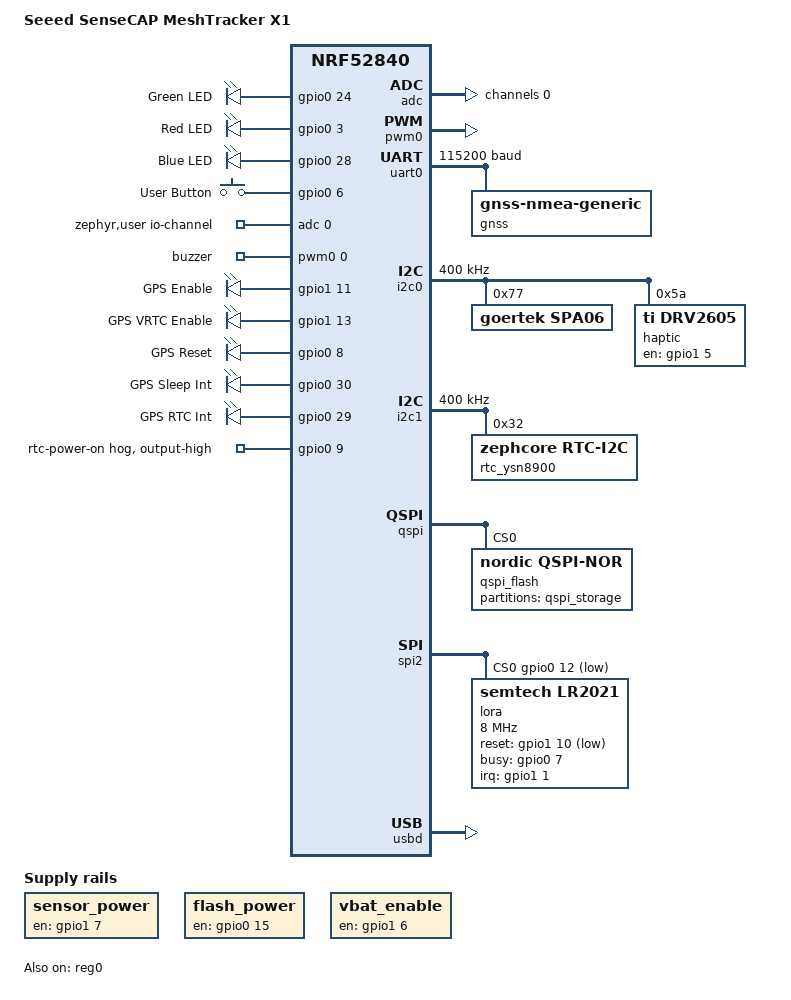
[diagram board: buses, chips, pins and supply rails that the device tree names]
/*
 * Seeed SenseCAP MeshTracker X1 - nRF52840 + LR2021
 * Copyright (c) 2026 ZephCore
 *
 * SPDX-License-Identifier: MIT
 *
 * Hardware:
 * - nRF52840 SoC with BLE
 * - LR2021 LoRa radio (TCXO 1.6V on DIO3, no external RF switch)
 * - Airoha dual-band L1+L5 GNSS on UART0
 * - SPA06 barometer + DRV2605L haptic driver (I2C0)
 * - RGB LED, buzzer, single user button
 * - 1100 mAh high-voltage LiPo, ADC on AIN0
 */

/dts-v1/;
#include <nordic/nrf52840_qiaa.dtsi>
#include <nordic/nrf52840_partition.dtsi>
#include <zephyr/dt-bindings/adc/nrf-saadc.h>
#include <zephyr/dt-bindings/input/input-event-codes.h>
#include <zephyr/dt-bindings/pwm/pwm.h>
#include "meshtracker_x1_nrf52840-pinctrl.dtsi"

/* Delete default partitions from nrf52840_partition.dtsi */
/delete-node/ &boot_partition;
/delete-node/ &slot0_partition;
/delete-node/ &slot1_partition;
/delete-node/ &storage_partition;

/ {
	model = "Seeed SenseCAP MeshTracker X1";
	compatible = "seeed,meshtracker-x1";

	chosen {
		zephyr,code-partition = &code_partition;
		zephyr,console = &cdc_acm_uart;
		zephyr,shell-uart = &cdc_acm_uart;
	};

	leds {
		compatible = "gpio-leds";

		led_green: led_0 {
			gpios = <&gpio0 24 GPIO_ACTIVE_HIGH>;
			label = "Green LED";
		};

		led_red: led_1 {
			gpios = <&gpio0 3 GPIO_ACTIVE_HIGH>;
			label = "Red LED";
		};

		led_blue: led_2 {
			gpios = <&gpio0 28 GPIO_ACTIVE_HIGH>;
			label = "Blue LED";
		};
	};

	buttons: buttons {
		compatible = "gpio-keys";

		user_button: button_0 {
			/* Active HIGH (pressed = VCC), external pull-down on board.
			 * The internal pull-down is declared as well so System OFF
			 * arms SENSE with PULLDOWN rather than NOPULL: the teardown
			 * cuts the sensor rail before configuring SENSE, and a
			 * floating pin with SENSE_HIGH asserts DETECT immediately,
			 * which exits System OFF as fast as it is entered. */
			gpios = <&gpio0 6 (GPIO_ACTIVE_HIGH | GPIO_PULL_DOWN)>;
			zephyr,code = <INPUT_KEY_0>;
			label = "User Button";
		};
	};

	/* Short-press → KEY_A, long-press → KEY_F */
	user_btn_longpress {
		compatible = "zephyr,input-longpress";
		input = <&buttons>;
		input-codes = <INPUT_KEY_0>;
		short-codes = <INPUT_KEY_A>;
		long-codes = <INPUT_KEY_F>;
		long-delay-ms = <1000>;
	};

	/* 1 tap → page next, 2 → LED heartbeat, 3 → buzzer mute,
	 * 4 → GPS on/off, 5 → flood advert */
	user_btn_multitap {
		compatible = "zephcore,input-multi-tap";
		input-codes = <INPUT_KEY_A>;
		tap-codes = <INPUT_KEY_1 INPUT_KEY_B INPUT_KEY_D INPUT_KEY_C INPUT_KEY_E>;
		tap-delay-ms = <400>;
	};

	/* P1.07 — 3V3 rail feeding the I2C sensors (barometer, haptic driver) */
	sensor_power: sensor-power {
		compatible = "regulator-fixed";
		regulator-name = "sensor-power";
		enable-gpios = <&gpio1 7 GPIO_ACTIVE_HIGH>;
		regulator-boot-on;
		startup-delay-us = <5000>;
	};

	/* P0.15 — 3V3 rail feeding the QSPI flash.
	 *
	 * A regulator rather than a gpio-hog so the part's power-up time is an
	 * enforced delay instead of a race: a hog raises the rail and returns,
	 * and the flash driver a few init priorities later clocks out RDID
	 * microseconds afterwards — before the switch and the rail's bulk
	 * capacitance have settled. The read comes back as 0x00/0xff, the JEDEC
	 * compare fails, and /ext never mounts. */
	flash_power: flash-power {
		compatible = "regulator-fixed";
		regulator-name = "flash-power";
		enable-gpios = <&gpio0 15 GPIO_ACTIVE_HIGH>;
		regulator-boot-on;
		/* Documents the part's requirement, but do not rely on it:
		 * regulator_fixed_init() drives the enable GPIO active and then
		 * passes is_enabled=true into regulator_common_init(), which
		 * takes the refcount-only branch — regulator_delay() sits on the
		 * other one and never runs. The flash gets its settling time
		 * from deferred init instead (see the qspi_flash node). */
		startup-delay-us = <100000>;
	};

	/* P1.06 — gates the battery ADC divider, enabled on demand */
	vbat_enable: vbat-enable {
		compatible = "regulator-fixed";
		regulator-name = "vbat-enable";
		enable-gpios = <&gpio1 6 GPIO_ACTIVE_HIGH>;
	};

	/* Battery ADC channel reference for ZephyrBoard */
	zephyr,user {
		io-channels = <&adc 0>;
		vbat-mv-multiplier = <7236>;  /* 2:1 divider, 3.6V ref; +0.5% for nRF SAADC gain error */
	};

	/* Buzzer on PWM0 channel 0 (P0.25) */
	pwmbuzzer {
		compatible = "pwm-leds";
		buzzer: buzzer {
			pwms = <&pwm0 0 PWM_MSEC(20) PWM_POLARITY_NORMAL>;
		};
	};

	/* GNSS control pins */
	gps_en: gps-enable {
		compatible = "gpio-leds";
		gps_enable_pin: gps_enable {
			gpios = <&gpio1 11 GPIO_ACTIVE_HIGH>;
			label = "GPS Enable";
		};
	};

	gps_vrtc: gps-vrtc-enable {
		compatible = "gpio-leds";
		gps_vrtc_pin: gps_vrtc {
			gpios = <&gpio1 13 GPIO_ACTIVE_HIGH>;
			label = "GPS VRTC Enable";
		};
	};

	gps_rst: gps-reset {
		compatible = "gpio-leds";
		gps_reset_pin: gps_reset {
			gpios = <&gpio0 8 GPIO_ACTIVE_HIGH>;
			label = "GPS Reset";
		};
	};

	gps_sleep: gps-sleep-int {
		compatible = "gpio-leds";
		gps_sleep_pin: gps_sleep {
			gpios = <&gpio0 30 GPIO_ACTIVE_HIGH>;
			label = "GPS Sleep Int";
		};
	};

	/* Held LOW during normal operation, HIGH wakes the GNSS RTC domain */
	gps_rtcint: gps-rtc-int {
		compatible = "gpio-leds";
		gps_rtcint_pin: gps_rtc_int {
			gpios = <&gpio0 29 GPIO_ACTIVE_HIGH>;
			label = "GPS RTC Int";
		};
	};

	aliases {
		led0 = &led_green;
		led1 = &led_red;
		sw0 = &user_button;
		watchdog0 = &wdt0;
		buzzer = &buzzer;
		lora0 = &lora;
		gps-enable = &gps_enable_pin;
		gps-vrtc-enable = &gps_vrtc_pin;
		gps-reset = &gps_reset_pin;
		gps-sleep-int = &gps_sleep_pin;
		gps-rtc-int = &gps_rtcint_pin;
	};
};

&reg0 {
	status = "okay";
};

&reg1 {
	regulator-initial-mode = <NRF5X_REG_MODE_DCDC>;
};

&adc {
	status = "okay";
	#address-cells = <1>;
	#size-cells = <0>;

	/* Battery voltage on P0.02 (AIN0) - 2x voltage divider */
	channel@0 {
		reg = <0>;
		zephyr,gain = "ADC_GAIN_1_6";
		zephyr,reference = "ADC_REF_INTERNAL";
		zephyr,acquisition-time = <ADC_ACQ_TIME(ADC_ACQ_TIME_MICROSECONDS, 10)>;
		zephyr,input-positive = <NRF_SAADC_AIN0>;
		zephyr,resolution = <12>;
	};
};

/* P0.09/P0.10 are the NFC antenna pins — the board wires P0.09 to the RTC
 * rail's power switch */
&uicr {
	nfct-pins-as-gpios;
};

&gpiote {
	status = "okay";
};

/* Both rails are hogged rather than modelled as regulators: a hog is applied
 * at PRE_KERNEL_1, ahead of the QSPI NOR driver and the RTC probe, and neither
 * rail is ever switched off — cutting the RTC would lose wall-clock time. */
&gpio0 {
	status = "okay";

	/* RTC power switch (P0.09) */
	rtc-power-on {
		gpio-hog;
		gpios = <9 GPIO_ACTIVE_HIGH>;
		output-high;
	};
};

&gpio1 {
	status = "okay";
};

&pwm0 {
	status = "okay";
	pinctrl-0 = <&pwm0_default>;
	pinctrl-1 = <&pwm0_sleep>;
	pinctrl-names = "default", "sleep";
};

/* Airoha dual-band GNSS on UART0 - 115200 baud.
 * Passive NMEA listener: the module streams NMEA at factory defaults, so no
 * PAIR command exchange is needed and driver init cannot block on a timeout. */
&uart0 {
	compatible = "nordic,nrf-uarte";
	status = "okay";
	current-speed = <115200>;
	pinctrl-0 = <&uart0_default>;
	pinctrl-1 = <&uart0_sleep>;
	pinctrl-names = "default", "sleep";

	gnss: gnss {
		compatible = "gnss-nmea-generic";
		/* ZephyrGPSManager powers the module up, then calls device_init() */
		zephyr,deferred-init;
	};
};

&i2c0 {
	compatible = "nordic,nrf-twim";
	status = "okay";
	clock-frequency = <I2C_BITRATE_FAST>;
	pinctrl-0 = <&i2c0_default>;
	pinctrl-1 = <&i2c0_sleep>;
	pinctrl-names = "default", "sleep";

	/* Sealed enclosure — only these two parts are ever on this bus, and both
	 * sit behind the sensor_power switch. NEITHER can be probed at POST_KERNEL.
	 *
	 * sensor_power comes up at CONFIG_REGULATOR_FIXED_INIT_PRIORITY (75) and
	 * both drivers run at 90 — microseconds later, with nothing scheduled in
	 * between on this board. The node's startup-delay-us does not save them:
	 * with regulator-boot-on, regulator_common_init() takes the refcount-only
	 * branch and regulator_delay() never runs. Same trap as flash_power below.
	 * (vin-supply + regulator_enable() would not help either — that applies
	 * off-on-delay-us, and only on the 0->1 refcount transition.)
	 *
	 * So both nodes are deferred and the app owns their bring-up, by which
	 * time the rail has been up for seconds:
	 *   SPA06   -> env_sensors_init()  (adapters/sensors/ZephyrEnvSensors.cpp)
	 *   DRV2605 -> haptic_init()       (helpers/ui/haptic.c)
	 *
	 * Do not "simplify" one of these back to a normal probe. An earlier
	 * revision deferred only the DRV2605, and the SPA06 — which sorts after it
	 * within POST_KERNEL priority 90, since equal-priority devices order by DT
	 * dependency ordinal and drv2605@5a sorts before spa06@77 — silently lost
	 * the settling time it had been borrowing from the DRV2605's failing probe.
	 * The barometer had "worked" only by that accident, and went dead the day
	 * the haptic was fixed. */
	spa06: spa06@77 {
		compatible = "goertek,spa06";
		reg = <0x77>;
		zephyr,deferred-init;
	};

	/* Deferring this one also lets haptic_init() assert EN and wait before the
	 * first transaction. Upstream's drv2605_init() spends its
	 * DRV2605_POWER_UP_DELAY_US *before* drv2605_gpio_config() raises en-gpios,
	 * then reads the status register over I2C immediately after — so the part
	 * gets no settling time at all between EN rising and being addressed, and
	 * NACKs. Without the deferral the driver has already run (and failed) by
	 * the time the app gets a say, and device_init() would answer -EALREADY. */
	haptic: drv2605@5a {
		compatible = "ti,drv2605";
		reg = <0x5a>;
		actuator-mode = "LRA";
		en-gpios = <&gpio1 5 GPIO_ACTIVE_HIGH>;
		zephyr,deferred-init;
	};
};

/* I2C1 — YSN8900 RTC, on its own bus and its own switched rail.
 *
 * The part is an RX8900 second-source (same 3.2x2.5x1.0 package, same
 * 32.768 kHz TCXO grades), so it uses the RX8900 register layout rather than
 * the RX8130CE one that rtc-i2c.dtsi assumes for address 0x32: time at 0x00,
 * FLAG at 0x0E, VLF in bit 1. Boot-time discovery BCD-validates what it reads,
 * so a wrong guess here is detected and skipped, not silently trusted. */
&i2c1 {
	compatible = "nordic,nrf-twim";
	status = "okay";
	clock-frequency = <I2C_BITRATE_FAST>;
	pinctrl-0 = <&i2c1_default>;
	pinctrl-1 = <&i2c1_sleep>;
	pinctrl-names = "default", "sleep";

	rtc_ysn8900: rtc-ysn8900@32 {
		compatible = "zephcore,rtc-i2c";
		reg = <0x32>;
		time-reg = <0x00>;
		date-index = <4>;
		status-reg = <0x0e>;
		status-mask = <0x02>;
	};
};

/* GD25Q64E — 8MB, all of it LittleFS for contacts, channels and blobs */
&qspi {
	status = "okay";
	pinctrl-0 = <&qspi_default>;
	pinctrl-1 = <&qspi_sleep>;
	pinctrl-names = "default", "sleep";

	qspi_flash: qspi_flash@0 {
		compatible = "nordic,qspi-nor";
		reg = <0>;
		/* Do not probe this at boot. The rail is switched on by
		 * flash-power a few init priorities earlier, and the part is not
		 * driving the bus yet when the driver's JEDEC read goes out —
		 * it answers 00 00 00 at 0.4 s and a correct c8 40 17 by 5.9 s
		 * on the very same boot. A fixed settling delay would only be a
		 * guess at where in between it wakes; instead the driver is
		 * initialised on demand, when the store first mounts /ext. */
		zephyr,deferred-init;
		/* Single-line, as every other QSPI board here uses.
		 *
		 * Quad needs the part's QE bit set, and the binding defaults
		 * quad-enable-requirements to S1B6 — QE in status register 1
		 * bit 6, which is the Macronix layout. This is a GigaDevice
		 * part, where that bit is not QE at all; the driver read SR1
		 * 0x40, decided QE was already on, and never enabled quad. The
		 * JEDEC id still read back fine (single-line), but every 4-line
		 * read and program went out over data lines the flash was not
		 * driving, so littlefs formatted, read back nothing it wrote,
		 * and declared block 0 bad.
		 *
		 * QER NONE keeps the driver off the status register entirely
		 * rather than having it clear a bit it has misidentified. */
		quad-enable-requirements = "NONE";
		writeoc = "pp";
		readoc = "fastread";
		sck-frequency = <16000000>;
		jedec-id = [c8 40 17];
		size = <67108864>;            /* 64Mbit = 8MB, in bits */
		has-dpd;
		t-enter-dpd = <3000>;
		t-exit-dpd = <30000>;
	};
};

/* SPI2 for LR2021 (SPI1 shares its peripheral slot with I2C1) */
&spi2 {
	compatible = "nordic,nrf-spim";
	status = "okay";
	cs-gpios = <&gpio0 12 GPIO_ACTIVE_LOW>;
	/* Clock 0x00 on MOSI when there is nothing to send. Nordic defaults the
	 * over-read character to 0xff, and the LR2021 parses those bytes: a bare
	 * status read then looks like opcode 0xffff, which the chip rejects and
	 * flags as a command error. 0x00 is the LR2021 NOP, which is what both
	 * Semtech's reference HAL and RadioLib send. */
	overrun-character = <0x00>;
	pinctrl-0 = <&spi2_default>;
	pinctrl-1 = <&spi2_sleep>;
	pinctrl-names = "default", "sleep";

	lora: lora@0 {
		compatible = "semtech,lr2021";
		reg = <0>;
		spi-max-frequency = <8000000>;

		reset-gpios = <&gpio1 10 GPIO_ACTIVE_LOW>;
		busy-gpios = <&gpio0 7 GPIO_ACTIVE_HIGH>;
		irq-gpios = <&gpio1 1 (GPIO_PULL_DOWN | GPIO_ACTIVE_HIGH)>;
		irq-dio = <8>;

		tcxo-voltage = <1600>;
		tcxo-power-startup-delay-ms = <5>;
		rx-boosted;

		/* Single antenna path, no DIO-driven RF switch on this board */
	};
};

zephyr_udc0: &usbd {
	compatible = "nordic,nrf-usbd";
	status = "okay";

	cdc_acm_uart: cdc_acm_uart {
		compatible = "zephyr,cdc-acm-uart";
	};
};

#include "../../common/nrf52_partitions_sdv7.dtsi"

&qspi_flash {
	partitions {
		compatible = "fixed-partitions";
		#address-cells = <1>;
		#size-cells = <1>;

		qspi_storage_partition: partition@0 {
			label = "qspi_storage";
			reg = <0x00000000 0x00800000>;
		};
	};
};

#include "../../common/qspi-ext.dtsi"
#include "../../common/nrf52_wakeup.dtsi"
